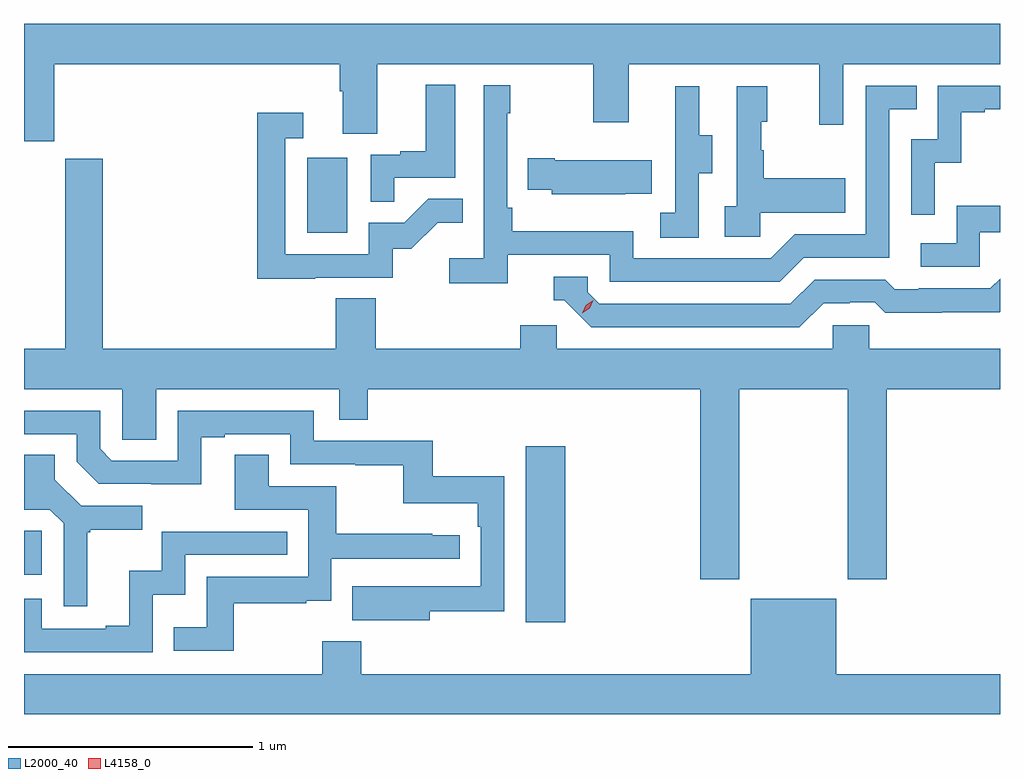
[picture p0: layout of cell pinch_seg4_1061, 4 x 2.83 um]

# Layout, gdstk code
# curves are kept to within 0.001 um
import gdstk
lib = gdstk.Library(unit=1e-6, precision=1e-09)
def R(c, l, rs):  # rectangles x0, y0, x1, y1
    for r in rs: c.add(gdstk.rectangle(r[:2], r[2:], *l))
def P(c, l, *ps):  # polygons
    for p in ps: c.add(gdstk.Polygon(p, *l))
L2000_40 = (2000, 40)
L4158_0 = (4158, 0)

pinch_seg4_1061 = lib.new_cell('pinch_seg4_1061')
R(pinch_seg4_1061, L2000_40, [(869.291,755.904,869.452,756.625), (867.234,756.099,867.306,756.279), (868.394,757.5,868.558,757.807)])
P(pinch_seg4_1061, L2000_40, [(867.358,758.192),(868.529,758.192),(868.529,758.08),(868.541,758.08),(868.541,757.906),(868.681,757.906),(868.681,758.192),(869.566,758.192),(869.566,757.953),(869.713,757.953),(869.713,758.192),(870.494,758.192),(870.494,757.944),(870.591,757.944),(870.591,758.192),(871.234,758.192),(871.234,758.356),(867.234,758.356),(867.234,757.875),(867.358,757.875)],
  [(868.751,757.725),(869.002,757.725),(869.002,758.107),(868.88,758.107),(868.88,757.834),(868.777,757.834),(868.777,757.821),(868.656,757.821),(868.656,757.627),(868.751,757.627)],
  [(869.216,757.41),(869.634,757.41),(869.634,757.299),(870.331,757.299),(870.43,757.398),(870.78,757.398),(870.78,758.007),(870.893,758.007),(870.893,758.103),(870.684,758.103),(870.684,757.494),(870.393,757.494),(870.294,757.395),(869.73,757.395),(869.73,757.507),(869.234,757.507),(869.234,757.603),(869.214,757.603),(869.214,757.991),(869.227,757.991),(869.227,758.104),(869.118,758.104),(869.118,757.396),(868.977,757.396),(868.977,757.294),(869.216,757.294)],
  [(870.966,757.787),(871.076,757.787),(871.076,757.995),(871.171,757.995),(871.171,758.007),(871.234,758.007),(871.234,758.103),(870.978,758.103),(870.978,757.884),(870.87,757.884),(870.87,757.575),(870.966,757.575)],
  [(870,757.744),(870.055,757.744),(870.055,757.899),(870.001,757.899),(870.001,758.101),(869.903,758.101),(869.903,757.887),(869.904,757.887),(869.904,757.583),(869.841,757.583),(869.841,757.48),(870,757.48)],
  [(870.252,757.583),(870.599,757.583),(870.599,757.723),(870.265,757.723),(870.265,757.838),(870.255,757.838),(870.255,757.956),(870.28,757.956),(870.28,758.101),(870.156,758.101),(870.156,757.61),(870.105,757.61),(870.105,757.485),(870.252,757.485)],
  [(868.427,757.317),(868.746,757.317),(868.746,757.434),(868.822,757.434),(868.929,757.541),(869.033,757.541),(869.033,757.64),(868.89,757.64),(868.792,757.542),(868.647,757.542),(868.647,757.413),(868.305,757.413),(868.305,757.887),(868.378,757.887),(868.378,757.993),(868.189,757.993),(868.189,757.312),(868.427,757.312)],
  [(869.699,757.661),(869.807,757.661),(869.807,757.798),(869.41,757.798),(869.41,757.806),(869.299,757.806),(869.299,757.676),(869.397,757.676),(869.397,757.658),(869.699,757.658)],
  [(870.165,756.86),(870.61,756.86),(870.61,756.081),(870.77,756.081),(870.77,756.86),(871.234,756.86),(871.234,757.024),(870.699,757.024),(870.699,757.122),(870.549,757.122),(870.549,757.024),(869.418,757.024),(869.418,757.122),(869.267,757.122),(869.267,757.024),(868.676,757.024),(868.676,757.232),(868.511,757.232),(868.511,757.024),(867.557,757.024),(867.557,757.803),(867.404,757.803),(867.404,757.024),(867.234,757.024),(867.234,756.86),(867.636,756.86),(867.636,756.652),(867.775,756.652),(867.775,756.86),(868.527,756.86),(868.527,756.733),(868.643,756.733),(868.643,756.86),(870.005,756.86),(870.005,756.081),(870.165,756.081)],
  [(871.152,757.503),(871.234,757.503),(871.234,757.612),(871.056,757.612),(871.056,757.458),(870.909,757.458),(870.909,757.362),(871.152,757.362)],
  [(870.511,757.212),(870.618,757.212),(870.618,757.215),(870.721,757.215),(870.763,757.173),(870.996,757.173),(870.996,757.175),(871.232,757.175),(871.234,757.177),(871.234,757.312),(871.194,757.272),(870.901,757.272),(870.901,757.269),(870.802,757.269),(870.763,757.308),(870.474,757.308),(870.375,757.209),(869.592,757.209),(869.544,757.257),(869.544,757.32),(869.405,757.32),(869.405,757.224),(869.448,757.224),(869.559,757.113),(870.412,757.113)],
  [(868.897,755.95),(869.202,755.95),(869.202,756.502),(868.909,756.502),(868.909,756.648),(868.422,756.648),(868.422,756.771),(867.864,756.771),(867.864,756.567),(867.594,756.567),(867.546,756.615),(867.546,756.771),(867.234,756.771),(867.234,756.675),(867.45,756.675),(867.45,756.561),(867.54,756.471),(867.961,756.47),(867.961,756.663),(868.057,756.663),(868.057,756.675),(868.326,756.675),(868.326,756.552),(868.591,756.552),(868.591,756.547),(868.788,756.547),(868.788,756.392),(869.093,756.392),(869.093,756.296),(869.106,756.296),(869.106,756.051),(868.579,756.052),(868.579,755.912),(868.897,755.912)],
  [(868.093,755.982),(868.391,755.982),(868.391,755.993),(868.494,755.993),(868.494,756.165),(869.02,756.165),(869.02,756.261),(868.907,756.261),(868.907,756.266),(868.514,756.266),(868.514,756.462),(868.237,756.462),(868.237,756.59),(868.097,756.59),(868.097,756.366),(868.398,756.366),(868.398,756.09),(867.982,756.09),(867.982,755.884),(867.847,755.884),(867.847,755.787),(868.093,755.787)],
  [(867.493,756.273),(867.505,756.273),(867.505,756.284),(867.718,756.284),(867.718,756.381),(867.468,756.381),(867.361,756.488),(867.361,756.59),(867.234,756.59),(867.234,756.366),(867.339,756.366),(867.396,756.309),(867.396,755.97),(867.493,755.97)],
  [(867.762,756.017),(867.894,756.017),(867.894,756.18),(868.313,756.18),(868.313,756.276),(867.798,756.276),(867.798,756.115),(867.665,756.115),(867.665,755.89),(867.569,755.89),(867.569,755.877),(867.306,755.877),(867.306,756),(867.234,756),(867.234,755.781),(867.762,755.781)],
  [(871.234,755.692),(870.562,755.692),(870.562,756.001),(870.212,756.001),(870.212,755.692),(868.616,755.692),(868.616,755.827),(868.456,755.827),(868.456,755.692),(867.234,755.692),(867.234,755.528),(871.234,755.528)])
P(pinch_seg4_1061, L4158_0, [(869.521,757.171),(869.521,757.171),(869.537,757.204),(869.567,757.224),(869.567,757.224),(869.567,757.224),(869.552,757.191),(869.521,757.171)])

lib.write_gds('pinch_seg4_1061.gds')
